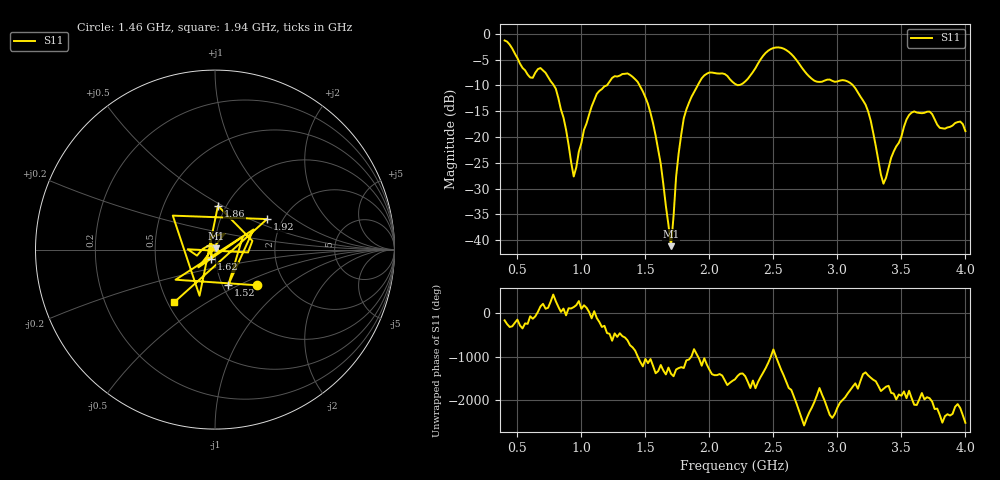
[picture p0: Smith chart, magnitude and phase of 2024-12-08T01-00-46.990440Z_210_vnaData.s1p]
!Created with skrf (http://scikit-rf.org).
# Hz S RI R 50.0
!freq ReS11 ImS11
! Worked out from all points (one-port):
!   181 points, 400 MHz to 4 GHz, reference 50 ohm
!   lowest |S11| = -41.2 dB at 1.7 GHz (marker M1), VSWR 1.02, Z = 50.6 + j0.661 ohm
!   |S11| at or under -10 dB: 784.4 MHz to 1.199 GHz (414.8 MHz wide, 41.8 % of centre); 1.455 GHz to 1.909 GHz (454 MHz wide, 27 % of centre); 3.122 GHz to end of sweep
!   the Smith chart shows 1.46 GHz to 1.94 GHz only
!   S11 on the Smith chart (normalised r, x): 1.46 GHz: 1.45, -0.64; 1.52 GHz: 1.07, -0.44; 1.62 GHz: 0.96, -0.10; 1.86 GHz: 0.92, +0.48; 1.92 GHz: 1.66, +0.64; 1.94 GHz: 0.54, -0.37
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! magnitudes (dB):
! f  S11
! 400 MHz  -1.3
! 600 MHz  -8.5
! 720 MHz  -7.6
! 800 MHz  -10.7
! 860 MHz  -16.2
! 940 MHz  -27.7
! 1.02 GHz  -18.6
! 1.12 GHz  -11.7
! 1.3 GHz  -8.1
! 1.46 GHz  -10.2
! 1.52 GHz  -13.6
! 1.62 GHz  -25.2
! 1.7 GHz  -41.2
! 1.76 GHz  -23.1
! 1.8 GHz  -16.4
! 1.86 GHz  -12.2
! 1.92 GHz  -9.5
! 1.94 GHz  -8.6
! 2.2 GHz  -9.7
! 2.48 GHz  -3.0
! 2.66 GHz  -4.5
! 2.82 GHz  -9.1
! 3.1 GHz  -9.5
! 3.24 GHz  -15.0
! 3.36 GHz  -29.0
! 3.56 GHz  -15.7
! 3.72 GHz  -15.1
! 4 GHz  -18.9
